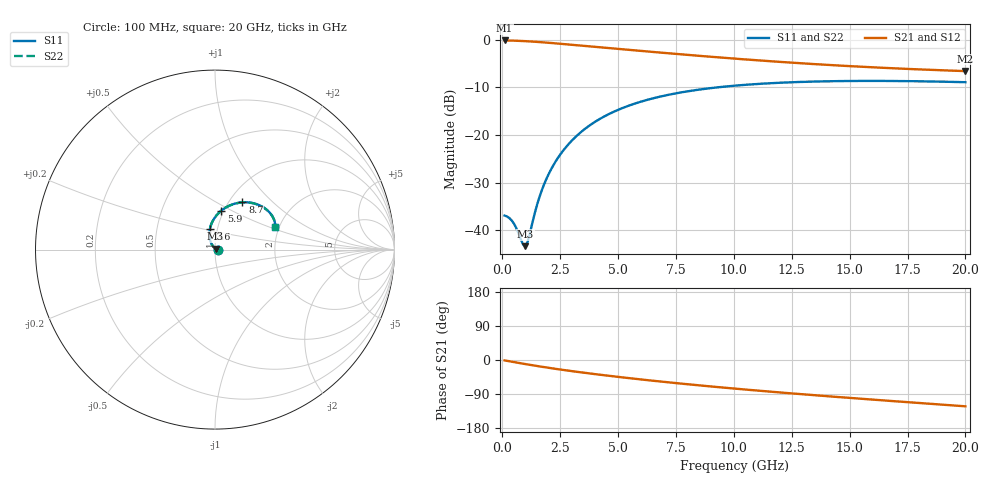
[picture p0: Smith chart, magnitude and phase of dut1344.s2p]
! Touchstone file exported from HFSS 2024.1.0
!  File:  C:/UserFiles/LocalFiles/RDL_TSV_Batchsim/temp_RDL_TSV_1344_1780392601.aedt
!  Generated:  05:48:28 PM Jun  2, 2026
!  Design:  RDL_TSV
!  Project:  temp_RDL_TSV_1344_1780392601
!  Setup:  Setup1
!  Solution:  Sweep
! Variables:
!  dtsv = 7.19um
!  hbump = 3um
!  htsv = 92.05um
!  ldown = 261.25um
!  lrdl = 112.75um
!  p = 40
!  p1 = 44.24um
!  rhole = 10um
!  subl = 1234.75um
!  t = 450um
!  tdown = 2.28um
!  trdl = 3.7um
!  viad = 10um
!  wdown = 12.52um
!  wrdl = 11.55um
!  xbump = 18um
# GHz S MA R 50.000000
! Terminal data exported
! Port[1] = TM1_1_T1
! Port[2] = TM1_4_T1
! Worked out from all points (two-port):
!   200 points, 100 MHz to 20 GHz, reference 50 ohm
!   highest |S21| = -0.13 dB at 100 MHz (marker M1); lowest = -6.6 dB at 20 GHz (marker M2)
!   |S21| within 3 dB of the highest: start of sweep to 7.922 GHz
!   lowest |S11| = -43.4 dB at 1 GHz (marker M3), VSWR 1.01, Z = 50.3 + j0.604 ohm
!   |S11| at or under -10 dB: start of sweep to 9.277 GHz
!   |S22| runs from -43.5 to -8.7 dB; largest |S21 - S12| = 9.3e-15
!   S11 on the Smith chart (normalised r, x): 100 MHz: 1.03, +0.00; 3.6 GHz: 0.92, +0.21; 5.9 GHz: 0.97, +0.45; 8.7 GHz: 1.15, +0.67; 20 GHz: 1.90, +0.56
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0.1  0.01421 1.2  0.9849 -1.1  0.9849 -1.1  0.0142 1.2
! Gamma 0 0 0 0
! Port Impedance 50 0 50 0
0.3  0.01341 3.8  0.9833 -3.3  0.9833 -3.3  0.01339 3.7
0.5  0.01171 8.1  0.9803 -5.5  0.9803 -5.5  0.01169 7.9
0.9  0.007034 42.2  0.9713 -9.8  0.9713 -9.8  0.006966 41.8
1  0.006775 62.3  0.9684 -10.8  0.9684 -10.8  0.00669 62.2
1.1  0.007585 82.8  0.9654 -11.8  0.9654 -11.8  0.007491 82.9
1.4  0.015 114.2  0.9551 -14.9  0.9551 -14.9  0.01491 114.5
1.6  0.02206 119.8  0.9476 -16.8  0.9476 -16.8  0.02197 120.1
1.8  0.03004 121.4  0.9395 -18.7  0.9395 -18.7  0.02993 121.6
2  0.03866 121.1  0.9312 -20.6  0.9312 -20.6  0.03855 121.3
2.3  0.0525 119.0  0.9182 -23.3  0.9182 -23.3  0.05237 119.1
2.7  0.07202 114.9  0.9006 -26.8  0.9006 -26.8  0.07186 115.0
3.5  0.1123 105.5  0.8653 -33.4  0.8653 -33.4  0.1121 105.6
3.6  0.1174 104.3  0.8609 -34.2  0.8609 -34.2  0.1171 104.4
4.6  0.1656 93.2  0.8189 -41.7  0.8189 -41.7  0.1653 93.3
5.9  0.2205 80.6  0.768 -50.7  0.768 -50.7  0.2202 80.7
6.8  0.2525 73.1  0.7353 -56.6  0.7353 -56.6  0.2521 73.2
8.7  0.3043 59.9  0.6728 -68.1  0.6728 -68.1  0.3038 59.9
10.1  0.3307 52.0  0.6327 -75.9  0.6327 -75.9  0.3301 52.0
13.4  0.3639 37.6  0.5572 -92.5  0.5572 -92.5  0.3633 37.6
16.7  0.3696 27.7  0.5046 -107.7  0.5046 -107.7  0.3688 27.6
20  0.3585 21.0  0.4691 -122.2  0.4691 -122.2  0.3578 21.0
